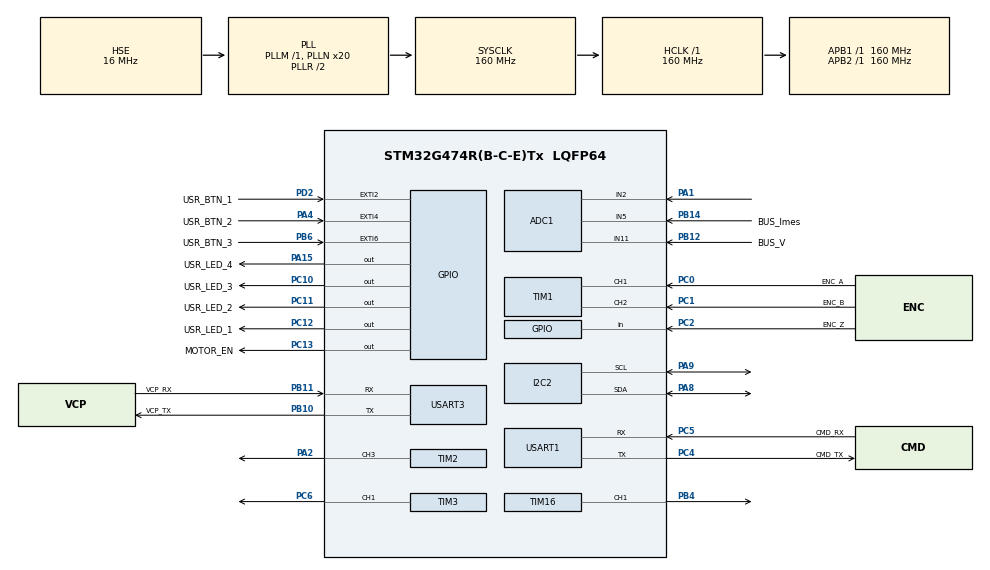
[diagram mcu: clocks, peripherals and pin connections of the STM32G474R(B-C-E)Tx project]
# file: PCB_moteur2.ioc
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ADC1.Channel-0\#ChannelRegularConversion=ADC_CHANNEL_5
ADC1.NbrOfConversionFlag=1
ADC1.OffsetNumber-0\#ChannelRegularConversion=ADC_OFFSET_NONE
ADC1.Rank-0\#ChannelRegularConversion=1
ADC1.SamplingTime-0\#ChannelRegularConversion=ADC_SAMPLETIME_2CYCLES_5
ADC1.master=1
I2C2.Timing=0x30D29DE4
Mcu.Family=STM32G4
Mcu.Name=STM32G474R(B-C-E)Tx
Mcu.Package=LQFP64
NVIC.PriorityGroup=NVIC_PRIORITYGROUP_4
PA1.Mode=IN2-Single-Ended
PA1.Signal=ADC1_IN2
PA13.Mode=Trace_Asynchronous_SW
PA13.Signal=SYS_JTMS-SWDIO
PA14.Mode=Trace_Asynchronous_SW
PA14.Signal=SYS_JTCK-SWCLK
PA15.GPIO_Label=USR_LED_4
PA15.Signal=GPIO_Output
PA2.Signal=S_TIM2_CH3
PA3.Signal=S_TIM2_CH4
PA4.GPIO_Label=USR_BTN_2
PA4.Signal=GPXTI4
PA8.Mode=I2C
PA8.Signal=I2C2_SDA
PA9.Mode=I2C
PA9.Signal=I2C2_SCL
PB10.GPIO_Label=VCP_TX
PB10.Mode=Asynchronous
PB10.Signal=USART3_TX
PB11.GPIO_Label=VCP_RX
PB11.Mode=Asynchronous
PB11.Signal=USART3_RX
PB12.GPIO_Label=BUS_V
PB12.Mode=IN11-Single-Ended
PB12.Signal=ADC1_IN11
PB14.GPIO_Label=BUS_Imes
PB14.Mode=IN5-Single-Ended
PB14.Signal=ADC1_IN5
PB3.Mode=Trace_Asynchronous_SW
PB3.Signal=SYS_JTDO-SWO
PB4.Signal=S_TIM16_CH1
PB6.GPIO_Label=USR_BTN_3
PB6.Signal=GPXTI6
PC0.GPIO_Label=ENC_A
PC0.Signal=S_TIM1_CH1
PC1.GPIO_Label=ENC_B
PC1.Signal=S_TIM1_CH2
PC10.GPIO_Label=USR_LED_3
PC10.Signal=GPIO_Output
PC11.GPIO_Label=USR_LED_2
PC11.Signal=GPIO_Output
PC12.GPIO_Label=USR_LED_1
PC12.Signal=GPIO_Output
PC13.GPIO_Label=MOTOR_EN
PC13.Signal=GPIO_Output
PC2.GPIO_Label=ENC_Z
PC2.Signal=GPIO_Input
PC4.GPIO_Label=CMD_TX
PC4.Mode=Asynchronous
PC4.Signal=USART1_TX
PC5.GPIO_Label=CMD_RX
PC5.Mode=Asynchronous
PC5.Signal=USART1_RX
PC6.Signal=S_TIM3_CH1
PC7.Signal=S_TIM3_CH2
PD2.GPIO_Label=USR_BTN_1
PD2.Signal=GPXTI2
PF0-OSC_IN.Mode=HSE-External-Oscillator
PF0-OSC_IN.Signal=RCC_OSC_IN
PF1-OSC_OUT.Mode=HSE-External-Oscillator
PF1-OSC_OUT.Signal=RCC_OSC_OUT
ProjectManager.HeapSize=0x200
ProjectManager.StackSize=0x400
ProjectManager.TargetToolchain=STM32CubeIDE
RCC.ADC12Freq_Value=160000000
RCC.ADC345Freq_Value=160000000
RCC.AHBFreq_Value=160000000
RCC.APB1Freq_Value=160000000
RCC.APB1TimFreq_Value=160000000
RCC.APB2Freq_Value=160000000
RCC.APB2TimFreq_Value=160000000
RCC.CortexFreq_Value=160000000
RCC.EXTERNAL_CLOCK_VALUE=12288000
RCC.HCLKFreq_Value=160000000
RCC.HSE_VALUE=16000000
RCC.HSI48_VALUE=48000000
RCC.HSI_VALUE=16000000
RCC.LSE_VALUE=32768
RCC.PLLN=20
RCC.PLLSourceVirtual=RCC_PLLSOURCE_HSE
RCC.SYSCLKFreq_VALUE=160000000
RCC.SYSCLKSource=RCC_SYSCLKSOURCE_PLLCLK
RCC.USBFreq_Value=160000000
RCC.VCOOutputFreq_Value=320000000
SH.S_TIM16_CH1.0=TIM16_CH1,Output Compare1 CH1
SH.S_TIM1_CH1.0=TIM1_CH1,Encoder_Interface
SH.S_TIM1_CH2.0=TIM1_CH2,Encoder_Interface
SH.S_TIM2_CH3.0=TIM2_CH3,PWM Generation3 CH3
SH.S_TIM2_CH4.0=TIM2_CH4
SH.S_TIM3_CH1.0=TIM3_CH1,PWM Generation1 CH1
SH.S_TIM3_CH2.0=TIM3_CH2
TIM16.Channel=TIM_CHANNEL_1
TIM2.AutoReloadPreload=TIM_AUTORELOAD_PRELOAD_ENABLE
TIM2.Channel-PWM\ Generation3\ CH3=TIM_CHANNEL_3
TIM2.CounterMode=TIM_COUNTERMODE_CENTERALIGNED1
TIM2.PeriodNoDither=1000-1
TIM2.Prescaler=8-1
TIM2.PulseNoDither_3=0
TIM2.TIM_MasterOutputTrigger=TIM_TRGO_UPDATE
TIM2.TIM_MasterSlaveMode=TIM_MASTERSLAVEMODE_ENABLE
TIM3.AutoReloadPreload=TIM_AUTORELOAD_PRELOAD_ENABLE
TIM3.Channel-PWM\ Generation1\ CH1=TIM_CHANNEL_1
TIM3.CounterMode=TIM_COUNTERMODE_CENTERALIGNED1
TIM3.PeriodNoDither=1000-1
TIM3.Prescaler=8-1
TIM3.PulseNoDither_1=0
TIM3.TIM_MasterSlaveMode=TIM_MASTERSLAVEMODE_DISABLE
USART1.VirtualMode-Asynchronous=VM_ASYNC
USART3.VirtualMode-Asynchronous=VM_ASYNC
VP_SYS_VS_DBSignals.Mode=DisableDeadBatterySignals
VP_TIM16_VS_ClockSourceINT.Mode=Enable_Timer
VP_TIM2_VS_ClockSourceINT.Mode=Internal
VP_TIM3_VS_ClockSourceINT.Mode=Internal
VP_TIM3_VS_ClockSourceITR.Mode=TriggerSource_ITR1
VP_TIM3_VS_ControllerModeTrigger.Mode=Trigger Mode
board=custom

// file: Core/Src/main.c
/* USER CODE BEGIN Header */
/**
 ******************************************************************************
 * @file           : main.c
 * @brief          : Main program body
 ******************************************************************************
 * @attention
 *
 * Copyright (c) 2025 STMicroelectronics.
 * All rights reserved.
 *
 * This software is licensed under terms that can be found in the LICENSE file
 * in the root directory of this software component.
 * If no LICENSE file comes with this software, it is provided AS-IS.
 *
 ******************************************************************************
 */
/* USER CODE END Header */
#include "main.h"
#include "adc.h"
#include "i2c.h"
#include "tim.h"
#include "usart.h"
#include "gpio.h"

/* USER CODE BEGIN Includes */
#include "motor.h"
/* USER CODE END Includes */

/* USER CODE BEGIN PV */
float alpha=0;
float V=0;
/* USER CODE END PV */

void SystemClock_Config(void);

int main(void)
{

	/* USER CODE BEGIN 1 */
	float speed = 0;
	float inc = 1;
	float acc = 1;
	/* USER CODE END 1 */

	/* MCU Configuration--------------------------------------------------------*/

	/* Reset of all peripherals, Initializes the Flash interface and the Systick. */
	HAL_Init();

	/* Configure the system clock */
	SystemClock_Config();

	/* Initialize all configured peripherals */
	MX_GPIO_Init();
	MX_TIM2_Init();
	MX_TIM3_Init();
	MX_ADC1_Init();
	MX_I2C2_Init();
	MX_TIM1_Init();
	MX_TIM16_Init();
	MX_USART1_UART_Init();
	MX_USART3_UART_Init();
	/* USER CODE BEGIN 2 */
	HAL_GPIO_WritePin(MOTOR_EN_GPIO_Port, MOTOR_EN_Pin, SET);
	HAL_TIM_PWM_Start(&htim2, TIM_CHANNEL_3);
	HAL_TIM_PWM_Start(&htim3, TIM_CHANNEL_1);

	Motor_Init(&hmotor, &htim2, TIM_CHANNEL_3, &htim3, TIM_CHANNEL_1, MOTOR_EN_GPIO_Port, MOTOR_EN_Pin);
	Motor_Start(&hmotor);
	Motor_Set_Speed(&hmotor, 0.0);

	/* USER CODE END 2 */

	/* Infinite loop */
	/* USER CODE BEGIN WHILE */
	while (1)
	{
		if(speed > 23) acc = -1;
		if(speed < -23) acc = 1;
		speed += acc*inc;

		Motor_Set_Speed(&hmotor, speed);

		// freq 20 K, presc à 0, pres à 7, pi avec simulink, aller voir Mr Martin
		//	  V=24;
		//	  alpha=(V/24 +1)*(1/2);//  paramètre V a donné
		//	  __HAL_TIM_SET_COMPARE(&htim2, TIM_CHANNEL_3, 1000);
		//	  //__HAL_TIM_SET_COMPARE(&htim3, TIM_CHANNEL_1, 1000);
		//	  //__HAL_TIM_SET_COMPARE(&htim2, TIM_CHANNEL_4, 1000);
		//	  //__HAL_TIM_SET_COMPARE(&htim3, TIM_CHANNEL_2, 1000);
		//	  HAL_Delay(1000);
		//	  __HAL_TIM_SET_COMPARE(&htim2, TIM_CHANNEL_3, 0);
		//	  //__HAL_TIM_SET_COMPARE(&htim3, TIM_CHANNEL_1, 0);
		//	  //__HAL_TIM_SET_COMPARE(&htim2, TIM_CHANNEL_4, 0);
		//	  //__HAL_TIM_SET_COMPARE(&htim3, TIM_CHANNEL_2, 0);
		//	  HAL_Delay(1000);

		HAL_GPIO_TogglePin(USR_LED_1_GPIO_Port, USR_LED_1_Pin);
		HAL_GPIO_TogglePin(USR_LED_2_GPIO_Port, USR_LED_2_Pin);
		HAL_GPIO_TogglePin(USR_LED_3_GPIO_Port, USR_LED_3_Pin);
		HAL_GPIO_TogglePin(USR_LED_4_GPIO_Port, USR_LED_4_Pin);
		HAL_Delay(100);
		/* USER CODE END WHILE */

	}
}

void SystemClock_Config(void)
{
	RCC_OscInitTypeDef RCC_OscInitStruct = {0};
	RCC_ClkInitTypeDef RCC_ClkInitStruct = {0};

	/** Configure the main internal regulator output voltage
	 */
	HAL_PWREx_ControlVoltageScaling(PWR_REGULATOR_VOLTAGE_SCALE1_BOOST);

	/** Initializes the RCC Oscillators according to the specified parameters
	 * in the RCC_OscInitTypeDef structure.
	 */
	RCC_OscInitStruct.OscillatorType = RCC_OSCILLATORTYPE_HSE;
	RCC_OscInitStruct.HSEState = RCC_HSE_ON;
	RCC_OscInitStruct.PLL.PLLState = RCC_PLL_ON;
	RCC_OscInitStruct.PLL.PLLSource = RCC_PLLSOURCE_HSE;
	RCC_OscInitStruct.PLL.PLLM = RCC_PLLM_DIV1;
	RCC_OscInitStruct.PLL.PLLN = 20;
	RCC_OscInitStruct.PLL.PLLP = RCC_PLLP_DIV2;
	RCC_OscInitStruct.PLL.PLLQ = RCC_PLLQ_DIV2;
	RCC_OscInitStruct.PLL.PLLR = RCC_PLLR_DIV2;
	if (HAL_RCC_OscConfig(&RCC_OscInitStruct) != HAL_OK)
	{
		Error_Handler();
	}

	/** Initializes the CPU, AHB and APB buses clocks
	 */
	RCC_ClkInitStruct.ClockType = RCC_CLOCKTYPE_HCLK|RCC_CLOCKTYPE_SYSCLK
			|RCC_CLOCKTYPE_PCLK1|RCC_CLOCKTYPE_PCLK2;
	RCC_ClkInitStruct.SYSCLKSource = RCC_SYSCLKSOURCE_PLLCLK;
	RCC_ClkInitStruct.AHBCLKDivider = RCC_SYSCLK_DIV1;
	RCC_ClkInitStruct.APB1CLKDivider = RCC_HCLK_DIV1;
	RCC_ClkInitStruct.APB2CLKDivider = RCC_HCLK_DIV1;

	if (HAL_RCC_ClockConfig(&RCC_ClkInitStruct, FLASH_LATENCY_4) != HAL_OK)
	{
		Error_Handler();
	}
}

void Error_Handler(void)
{
	__disable_irq();
	while (1)
	{
	}
}
